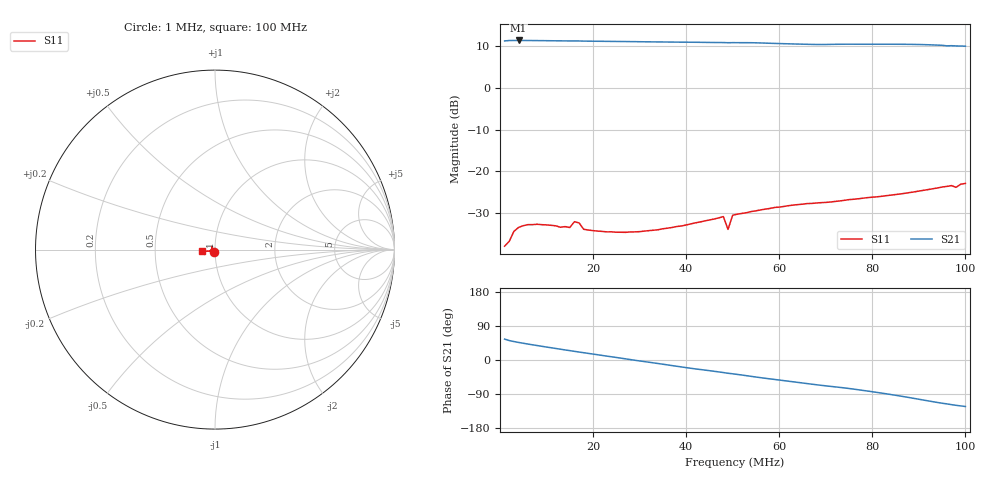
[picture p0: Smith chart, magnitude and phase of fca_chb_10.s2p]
# HZ S RI R 50
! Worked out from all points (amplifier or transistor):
!   100 points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, 1 MHz to 100 MHz, reference 50 ohm
!   highest |S21| = 11.3 dB at 4 MHz (marker M1)
!   |S21| within 3 dB of that: start of sweep to end of sweep
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1000001  -0.00654 -0.011  2.071 2.972  0 0  0 0
2000001  -0.013 0.00663  2.288 2.856  0 0  0 0
4000001  -0.0157 0.0146  2.531 2.654  0 0  0 0
1.1e7  -0.0162 0.0159  3.075 1.945  0 0  0 0
1.5e7  -0.0163 0.0138  3.285 1.516  0 0  0 0
1.6e7  -0.0182 0.0172  3.337 1.408  0 0  0 0
1.8e7  -0.0162 0.0122  3.401 1.187  0 0  0 0
2.7e7  -0.0177 0.00609  3.555 0.1882  0 0  0 0
3.4e7  -0.02 0.00186  3.476 -0.5722  0 0  0 0
4.1e7  -0.0234 -0.0028  3.242 -1.299  0 0  0 0
4.8e7  -0.0282 -0.00603  2.899 -1.891  0 0  0 0
4.9e7  -0.0193 -0.00629  2.822 -1.977  0 0  0 0
5e7  -0.0291 -0.00685  2.779 -2.05  0 0  0 0
5.1e7  -0.0299 -0.00738  2.717 -2.127  0 0  0 0
5.7e7  -0.0344 -0.00839  2.271 -2.542  0 0  0 0
6.7e7  -0.0407 -0.00781  1.453 -2.951  0 0  0 0
7.5e7  -0.0452 -0.00858  0.8439 -3.198  0 0  0 0
8.4e7  -0.0511 -0.00984  -0.0659 -3.305  0 0  0 0
8.8e7  -0.0547 -0.011  -0.5305 -3.252  0 0  0 0
9.1e7  -0.0583 -0.0115  -0.8863 -3.149  0 0  0 0
9.5e7  -0.0641 -0.0112  -1.31 -2.932  0 0  0 0
1e8  -0.0713 -0.00851  -1.693 -2.636  0 0  0 0
